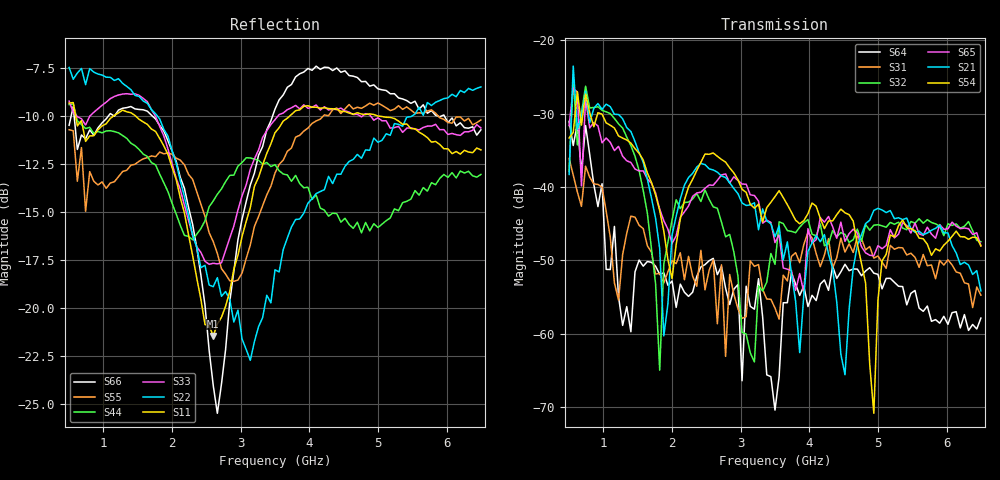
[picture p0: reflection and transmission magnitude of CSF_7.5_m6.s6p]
!Keysight Technologies,M9804A,MY58100912,A.14.10.03
!Date: Thursday, April 27, 2023 10:28:33
!Correction: S11(C  6-Port  )
!S12(C  6-Port  )
!S13(C  6-Port  )
!S14(C  6-Port  )
!S15(C  6-Port  )
!S16(C  6-Port  )
!S21(C  6-Port  )
!S22(C  6-Port  )
!S23(C  6-Port  )
!S24(C  6-Port  )
!S25(C  6-Port  )
!S26(C  6-Port  )
!S31(C  6-Port  )
!S32(C  6-Port  )
!S33(C  6-Port  )
!S34(C  6-Port  )
!S35(C  6-Port  )
!S36(C  6-Port  )
!S41(C  6-Port  )
!S42(C  6-Port  )
!S43(C  6-Port  )
!S44(C  6-Port  )
!S45(C  6-Port  )
!S46(C  6-Port  )
!S51(C  6-Port  )
!S52(C  6-Port  )
!S53(C  6-Port  )
!S54(C  6-Port  )
!S55(C  6-Port  )
!S56(C  6-Port  )
!S61(C  6-Port  )
!S62(C  6-Port  )
!S63(C  6-Port  )
!S64(C  6-Port  )
!S65(C  6-Port  )
!S66(C  6-Port  )
!S6P File: Measurement: :
# Hz S  RI  R 50
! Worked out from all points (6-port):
!   101 points, 500 MHz to 6.5 GHz, reference 50 ohm
!   strongest paths, dB at 500 MHz, 2 GHz, 3.5 GHz, 5 GHz, 6.5 GHz:
!     S54: -33.3, -52.5, -41.3, -55.4, -48.0
!     S21: -38.3, -46.6, -46.8, -42.9, -54.1
!     S65: -31.6, -47.7, -47.6, -48.0, -48.0
!     S32: -37.8, -44.5, -50.5, -45.1, -47.4
!     S31: -36.1, -50.0, -56.5, -49.4, -54.7
!     S64: -31.1, -52.8, -70.4, -51.9, -57.8
!   lowest |S11| = -21.4 dB at 2.6 GHz (marker M1), VSWR 1.19, Z = 42.5 + j2.32 ohm
!   |S11| at or under -10 dB: 593.8 MHz to 1.152 GHz (558.4 MHz wide, 64 % of centre); 1.464 GHz to 3.719 GHz (2.255 GHz wide, 87 % of centre); 4.987 GHz to end of sweep
